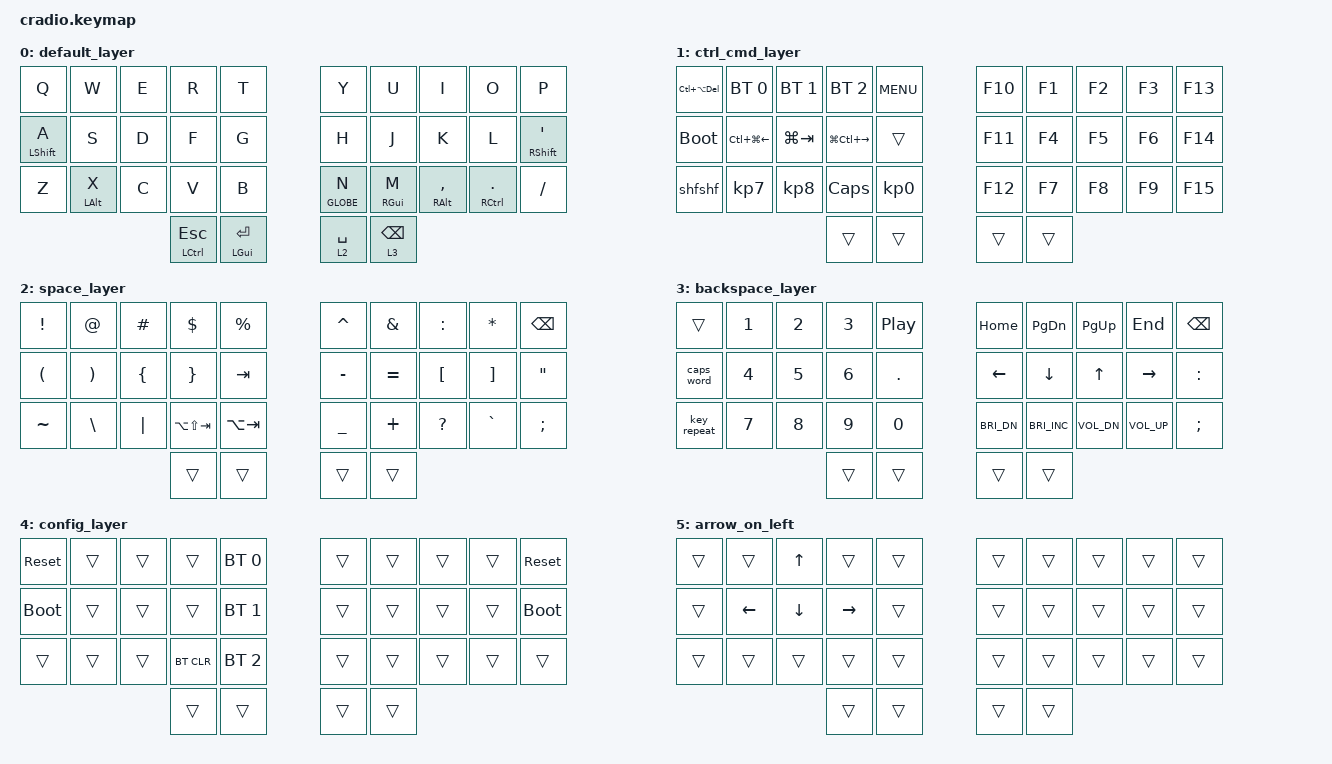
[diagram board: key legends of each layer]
// Copyright (c) 2022 The ZMK Contributors
// SPDX-License-Identifier: MIT

#include <behaviors.dtsi>
#include <dt-bindings/zmk/bt.h>
#include <dt-bindings/zmk/keys.h>

/ {
    behaviors {
        ht: hold_tap {
            compatible = "zmk,behavior-hold-tap";
            #binding-cells = <2>;
            flavor = "balanced";
            tapping-term-ms = <220>;
            quick-tap-ms = <150>;
            require-prior-idle-ms = <80>;
            bindings = <&kp>, <&kp>;
        };

        tdfshfshf: tdfshfshf {
            compatible = "zmk,behavior-tap-dance";
            label = "TDFSHFSHF";
            #binding-cells = <0>;
            bindings = <&kp F>, <&shfshf>;
        };
    };

    conditional_layers {
        compatible = "zmk,conditional-layers";

        tri_layer {
            if-layers = <2 3>;
            then-layer = <4>;
        };
    };

    macros {
        shfshf: shfshf {
            compatible = "zmk,behavior-macro";
            #binding-cells = <0>;
            bindings = <&kp LSHIFT &kp LEFT_SHIFT>;
            label = "SHFSHF";
        };

        ctrctr: ctrctr {
            compatible = "zmk,behavior-macro";
            #binding-cells = <0>;
            bindings = <&kp LCTRL &kp LCTRL>;
            label = "CTRCTR";
        };
    };

    combos {
        compatible = "zmk,combos";

        mo1 {
            bindings = <&mo 1>;
            key-positions = <30 31>;
        };

        tofive {
            bindings = <&to 5>;
            key-positions = <20 21 22 23>;
        };

        tozero {
            bindings = <&to 0>;
            key-positions = <20 21 22>;
        };
    };

    keymap {
        compatible = "zmk,keymap";

        default_layer {
            bindings = <
  &kp Q         &kp W       &kp E  &kp R          &kp T             &kp Y        &kp U       &kp I                &kp O                  &kp P
  &ht LSHIFT A  &kp S       &kp D  &kp F          &kp G             &kp H        &kp J       &kp K                &kp L                  &ht RSHIFT SQT
  &kp Z         &ht LALT X  &kp C  &kp V          &kp B             &ht GLOBE N  &ht RGUI M  &ht RIGHT_ALT COMMA  &ht RIGHT_CONTROL DOT  &kp SLASH
                                   &mt LCTRL ESC  &mt LGUI ENTER    &lt 2 SPACE  &lt 3 BSPC
            >;
        };

        ctrl_cmd_layer {
            bindings = <
  &kp LC(LA(DEL))  &bt BT_SEL 0      &bt BT_SEL 1 &bt BT_SEL 2       &kp C_MENU    &kp F10  &kp F1  &kp F2  &kp F3  &kp F13
  &bootloader      &kp LC(LG(LEFT))  &kp LG(TAB)  &kp LG(LC(RIGHT))  &trans        &kp F11  &kp F4  &kp F5  &kp F6  &kp F14
  &shfshf          &kp KP_N7         &kp KP_N8    &kp CLCK           &kp KP_N0     &kp F12  &kp F7  &kp F8  &kp F9  &kp F15
                                                  &trans             &trans        &trans   &trans
            >;
        };

        space_layer {
            bindings = <
  &kp EXCL   &kp AT    &kp HASH  &kp DLLR         &kp PRCNT      &kp CARET  &kp AMPS   &kp COLON     &kp STAR   &kp BSPC
  &kp LPAR   &kp RPAR  &kp LBRC  &kp RBRC         &kp TAB        &kp MINUS  &kp EQUAL  &kp LBKT      &kp RBKT   &kp DQT
  &kp TILDE  &kp BSLH  &kp PIPE  &kp LA(LS(TAB))  &kp LA(TAB)    &kp UNDER  &kp PLUS   &kp QUESTION  &kp GRAVE  &kp SEMI
                                 &trans           &trans         &trans     &trans
            >;
        };

        backspace_layer {
            bindings = <
  &trans       &kp N1  &kp N2  &kp N3  &kp C_PP    &kp HOME      &kp PG_DN      &kp PG_UP     &kp END       &kp BSPC
  &caps_word   &kp N4  &kp N5  &kp N6  &kp DOT     &kp LEFT      &kp DOWN       &kp UP        &kp RIGHT     &kp COLON
  &key_repeat  &kp N7  &kp N8  &kp N9  &kp N0      &kp C_BRI_DN  &kp C_BRI_INC  &kp C_VOL_DN  &kp C_VOL_UP  &kp SEMI
                               &trans  &trans      &trans        &trans
            >;
        };

        config_layer {
            bindings = <
  &sys_reset   &trans  &trans  &trans      &bt BT_SEL 0    &trans  &trans  &trans  &trans  &sys_reset
  &bootloader  &trans  &trans  &trans      &bt BT_SEL 1    &trans  &trans  &trans  &trans  &bootloader
  &trans       &trans  &trans  &bt BT_CLR  &bt BT_SEL 2    &trans  &trans  &trans  &trans  &trans
                               &trans      &trans          &trans  &trans
            >;
        };

        arrow_on_left {
            bindings = <
  &trans  &trans    &kp UP    &trans     &trans    &trans  &trans  &trans  &trans  &trans
  &trans  &kp LEFT  &kp DOWN  &kp RIGHT  &trans    &trans  &trans  &trans  &trans  &trans
  &trans  &trans    &trans    &trans     &trans    &trans  &trans  &trans  &trans  &trans
                              &trans     &trans    &trans  &trans
            >;
        };
    };
};
